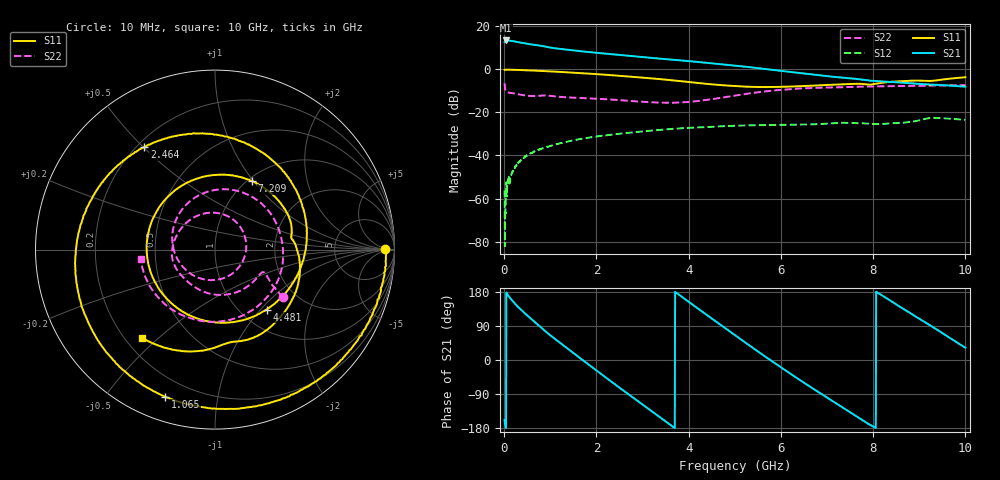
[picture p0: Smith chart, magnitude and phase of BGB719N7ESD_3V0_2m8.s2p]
! (c) 2011 Infineon Technologies AG
! BGB719N7ESD Infineon LNA MMIC for FM Radio Applications
!Date: Monday, Februar 17, 2012 14:36:33
! Standard Application Board
!S2P File: Measurements: S11, S21, S12, S22:
# Hz S  RI  R 50
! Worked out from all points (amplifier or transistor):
!   1601 points, 10 MHz to 10 GHz, reference 50 ohm
!   highest |S21| = 13.1 dB at 47.46 MHz (marker M1)
!   |S21| within 3 dB of that: start of sweep to 928.5 MHz
!   unconditionally stable (mu >= 1): start of sweep to end of sweep
!   at 1.671 GHz: K = 2.76, MAG = 13.0 dB, |S12| = -32.4 dB
!   at 5.005 GHz: K = 6.85, MAG = 2.6 dB, |S12| = -26.3 dB
!   at 10 GHz: K = 9.31, MAG = -5.0 dB, |S12| = -23.6 dB
!   lowest NFmin = 0.60 dB at 100 MHz
!   S11 on the Smith chart (normalised r, x): 10 MHz: 37, +1; 1.065 GHz: 0.11, -0.71; 2.464 GHz: 0.23, +0.50; 4.481 GHz: 1.30, -1.08; 7.209 GHz: 1.04, +0.98; 10 GHz: 0.27, -0.44
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1e7  0.9478 0.000953  -3.871 -1.538  -0.000573 -0.00144  0.3782 -0.2668
4.74625e7  0.9525 -0.0907  -4.517 0.1526  0.000193 0.00236  0.2711 -0.1255
9.74125e7  0.9375 -0.1762  -4.409 0.8826  0.000868 0.00217  0.2405 -0.1492
2.035562e8  0.8793 -0.3533  -3.852 1.962  0.00188 0.00442  0.1559 -0.2209
4.470625e8  0.6318 -0.6814  -2.127 3.232  0.00732 0.00606  -0.0547 -0.2378
7.467625e8  0.1941 -0.8773  -0.0756 3.472  0.0133 0.00329  -0.1991 -0.1304
1.065194e9  -0.2776 -0.8196  1.563 2.595  0.0169 -0.00312  -0.2293 0.0406
1.377381e9  -0.6212 -0.5495  2.377 1.374  0.0172 -0.0119  -0.1628 0.1464
1.677081e9  -0.7717 -0.1894  2.54 0.0978  0.0129 -0.0205  -0.0764 0.1969
2.089169e9  -0.6829 0.2923  1.864 -1.342  0.000268 -0.0281  0.0478 0.1958
2.463794e9  -0.3928 0.572  0.7282 -1.97  -0.0145 -0.0278  0.1349 0.1349
2.850906e9  -0.0228 0.6441  -0.4767 -1.862  -0.0287 -0.0192  0.1733 0.0369
3.344162e9  0.3693 0.4508  -1.469 -0.9114  -0.0386 0.00242  0.1392 -0.0895
3.843662e9  0.5113 0.0693  -1.519 0.3375  -0.0316 0.028  0.0223 -0.1657
4.480525e9  0.287 -0.3337  -0.4894 1.256  3.01e-05 0.0456  -0.1614 -0.1137
5.005e9  -0.0673 -0.3929  0.4943 1.08  0.0312 0.037  -0.2375 0.0424
5.716788e9  -0.3723 -0.0699  0.9739 0.0733  0.0502 -0.00338  -0.1329 0.2748
6.672081e9  -0.1052 0.394  0.2096 -0.7081  0.0154 -0.05  0.2312 0.2785
7.209044e9  0.2049 0.3818  -0.2748 -0.5824  -0.0206 -0.0517  0.3604 0.0981
8.339162e9  0.4706 -0.1564  -0.4717 0.1786  -0.0536 0.0109  0.1967 -0.3442
9.15085e9  0.1146 -0.5127  -0.0585 0.4342  -0.0272 0.0654  -0.1753 -0.3681
1e10  -0.4085 -0.49  0.3264 0.2067  0.0531 0.0397  -0.4136 -0.0532
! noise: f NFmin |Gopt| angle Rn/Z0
1e+08  0.6  0.61  9.55  0.3
4.5e+08  0.8  0.53  42  0.3
9e+08  1.06  0.53  87  0.21
